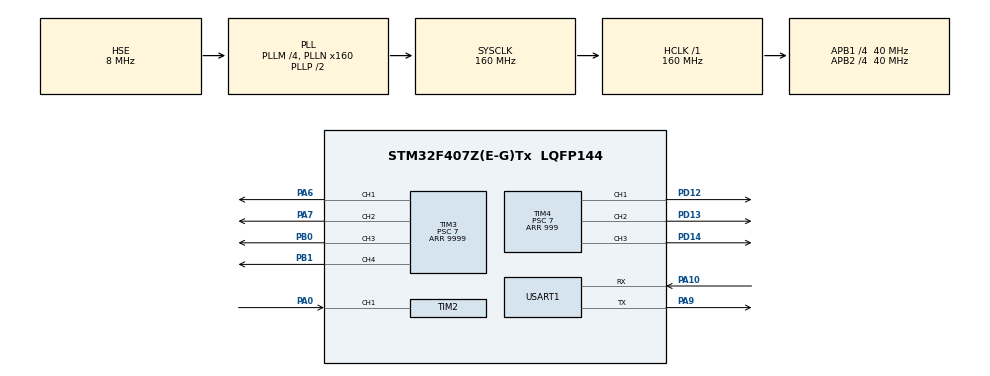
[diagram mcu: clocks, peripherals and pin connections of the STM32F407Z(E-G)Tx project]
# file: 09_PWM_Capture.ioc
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Mcu.Family=STM32F4
Mcu.Name=STM32F407Z(E-G)Tx
Mcu.Package=LQFP144
NVIC.PriorityGroup=NVIC_PRIORITYGROUP_4
NVIC.TIM2_IRQn=true\:0\:0\:false\:false\:true\:true\:true
PA0-WKUP.GPIO_PuPd=GPIO_PULLDOWN
PA0-WKUP.Signal=S_TIM2_CH1_ETR
PA10.Mode=Asynchronous
PA10.Signal=USART1_RX
PA6.GPIO_Speed=GPIO_SPEED_FREQ_HIGH
PA6.Signal=S_TIM3_CH1
PA7.GPIO_Speed=GPIO_SPEED_FREQ_HIGH
PA7.Signal=S_TIM3_CH2
PA9.Mode=Asynchronous
PA9.Signal=USART1_TX
PB0.GPIO_Speed=GPIO_SPEED_FREQ_HIGH
PB0.Signal=S_TIM3_CH3
PB1.GPIO_Speed=GPIO_SPEED_FREQ_HIGH
PB1.Signal=S_TIM3_CH4
PD12.GPIO_Speed=GPIO_SPEED_FREQ_HIGH
PD12.Signal=S_TIM4_CH1
PD13.GPIO_Speed=GPIO_SPEED_FREQ_HIGH
PD13.Signal=S_TIM4_CH2
PD14.GPIO_Speed=GPIO_SPEED_FREQ_HIGH
PD14.Signal=S_TIM4_CH3
PH0-OSC_IN.Mode=HSE-External-Oscillator
PH0-OSC_IN.Signal=RCC_OSC_IN
PH1-OSC_OUT.Mode=HSE-External-Oscillator
PH1-OSC_OUT.Signal=RCC_OSC_OUT
ProjectManager.HeapSize=0x200
ProjectManager.StackSize=0x400
ProjectManager.TargetToolchain=MDK-ARM V5
RCC.48MHZClocksFreq_Value=80000000
RCC.AHBFreq_Value=160000000
RCC.APB1CLKDivider=RCC_HCLK_DIV4
RCC.APB1Freq_Value=40000000
RCC.APB1TimFreq_Value=80000000
RCC.APB2CLKDivider=RCC_HCLK_DIV4
RCC.APB2Freq_Value=40000000
RCC.APB2TimFreq_Value=80000000
RCC.CortexFreq_Value=160000000
RCC.HCLKFreq_Value=160000000
RCC.HSE_VALUE=8000000
RCC.HSI_VALUE=16000000
RCC.LSE_VALUE=32768
RCC.PLLM=4
RCC.PLLN=160
RCC.PLLSourceVirtual=RCC_PLLSOURCE_HSE
RCC.SYSCLKFreq_VALUE=160000000
RCC.SYSCLKSource=RCC_SYSCLKSOURCE_PLLCLK
RCC.VCOOutputFreq_Value=320000000
SH.S_TIM2_CH1_ETR.0=TIM2_CH1,Input_Capture1_from_TI1
SH.S_TIM3_CH1.0=TIM3_CH1,PWM Generation1 CH1
SH.S_TIM3_CH2.0=TIM3_CH2,PWM Generation2 CH2
SH.S_TIM3_CH3.0=TIM3_CH3,PWM Generation3 CH3
SH.S_TIM3_CH4.0=TIM3_CH4,PWM Generation4 CH4
SH.S_TIM4_CH1.0=TIM4_CH1,PWM Generation1 CH1
SH.S_TIM4_CH2.0=TIM4_CH2,PWM Generation2 CH2
SH.S_TIM4_CH3.0=TIM4_CH3,PWM Generation3 CH3
TIM2.Channel-Input_Capture1_from_TI1=TIM_CHANNEL_1
TIM2.Period=0xFFFFFFFF
TIM2.Prescaler=7
TIM3.Channel-PWM\ Generation1\ CH1=TIM_CHANNEL_1
TIM3.Channel-PWM\ Generation2\ CH2=TIM_CHANNEL_2
TIM3.Channel-PWM\ Generation3\ CH3=TIM_CHANNEL_3
TIM3.Channel-PWM\ Generation4\ CH4=TIM_CHANNEL_4
TIM3.Period=9999
TIM3.Prescaler=7
TIM3.Pulse-PWM\ Generation1\ CH1=1234
TIM3.Pulse-PWM\ Generation2\ CH2=2345
TIM3.Pulse-PWM\ Generation3\ CH3=5678
TIM3.Pulse-PWM\ Generation4\ CH4=6789
TIM4.Channel-PWM\ Generation1\ CH1=TIM_CHANNEL_1
TIM4.Channel-PWM\ Generation2\ CH2=TIM_CHANNEL_2
TIM4.Channel-PWM\ Generation3\ CH3=TIM_CHANNEL_3
TIM4.Period=999
TIM4.Prescaler=7
TIM4.Pulse-PWM\ Generation1\ CH1=234
TIM4.Pulse-PWM\ Generation2\ CH2=567
TIM4.Pulse-PWM\ Generation3\ CH3=1234
USART1.VirtualMode=VM_ASYNC
VP_TIM2_VS_ClockSourceINT.Mode=Internal
VP_TIM3_VS_ClockSourceINT.Mode=Internal
VP_TIM4_VS_ClockSourceINT.Mode=Internal
board=custom

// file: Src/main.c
/* USER CODE BEGIN Header */
/**
  ******************************************************************************
  * @file           : main.c
  * @brief          : Main program body
  ******************************************************************************
  * @attention
  *
  * <h2><center>&copy; Copyright (c) 2019 STMicroelectronics.
  * All rights reserved.</center></h2>
  *
  * This software component is licensed by ST under BSD 3-Clause license,
  * the "License"; You may not use this file except in compliance with the
  * License. You may obtain a copy of the License at:
  *                        opensource.org/licenses/BSD-3-Clause
  *
  ******************************************************************************
  */
/* USER CODE END Header */

#include "main.h"

TIM_HandleTypeDef htim2;
TIM_HandleTypeDef htim3;
TIM_HandleTypeDef htim4;

UART_HandleTypeDef huart1;

void SystemClock_Config(void);
static void MX_GPIO_Init(void);
static void MX_TIM2_Init(void);
static void MX_TIM3_Init(void);
static void MX_TIM4_Init(void);
static void MX_USART1_UART_Init(void);

/* USER CODE BEGIN 0 */
uint32_t capture_buf[3] = {0};
uint8_t capture_cnt = 0;
uint32_t pwm_cycle, high_time;
uint64_t duty;
/* USER CODE END 0 */

int main(void)
{

  /* MCU Configuration--------------------------------------------------------*/

  /* Reset of all peripherals, Initializes the Flash interface and the Systick. */
  HAL_Init();

  /* Configure the system clock */
  SystemClock_Config();

  /* Initialize all configured peripherals */
  MX_GPIO_Init();
  MX_TIM2_Init();
  MX_TIM3_Init();
  MX_TIM4_Init();
  MX_USART1_UART_Init();
  /* USER CODE BEGIN 2 */
  HAL_TIM_PWM_Start(&htim3, TIM_CHANNEL_1);
  HAL_TIM_PWM_Start(&htim3, TIM_CHANNEL_2);
  HAL_TIM_PWM_Start(&htim3, TIM_CHANNEL_3);
  HAL_TIM_PWM_Start(&htim3, TIM_CHANNEL_4);

  HAL_TIM_PWM_Start(&htim4, TIM_CHANNEL_1);
  HAL_TIM_PWM_Start(&htim4, TIM_CHANNEL_2);
  HAL_TIM_PWM_Start(&htim4, TIM_CHANNEL_3);

  /* USER CODE END 2 */

  /* Infinite loop */
  while (1)
  {

    /* USER CODE BEGIN 3 */
	  switch (capture_cnt)
	  {
		  case 0:
			capture_cnt++;
			__HAL_TIM_SET_CAPTUREPOLARITY(&htim2, TIM_CHANNEL_1, TIM_INPUTCHANNELPOLARITY_RISING);
			HAL_TIM_IC_Start_IT(&htim2, TIM_CHANNEL_1);
			break;
		  case 4:
			pwm_cycle = capture_buf[2] - capture_buf[0];
			printf("Cycle:%.4fms\r\n", pwm_cycle/10000.0);

			high_time = capture_buf[1] - capture_buf[0];
		    printf("High:%.4fms\r\n", high_time/10000.0);

			duty = high_time;
			duty *= 1000;
			duty /=  pwm_cycle;
			printf("Duty:%.1f%%\r\n", duty/10.0);

			HAL_Delay(1000);
			capture_cnt = 0;
			break;

	  }

  }
  /* USER CODE END 3 */
}

void SystemClock_Config(void)
{
  RCC_OscInitTypeDef RCC_OscInitStruct = {0};
  RCC_ClkInitTypeDef RCC_ClkInitStruct = {0};

  /** Configure the main internal regulator output voltage
  */
  __HAL_RCC_PWR_CLK_ENABLE();
  __HAL_PWR_VOLTAGESCALING_CONFIG(PWR_REGULATOR_VOLTAGE_SCALE1);
  /** Initializes the CPU, AHB and APB busses clocks
  */
  RCC_OscInitStruct.OscillatorType = RCC_OSCILLATORTYPE_HSE;
  RCC_OscInitStruct.HSEState = RCC_HSE_ON;
  RCC_OscInitStruct.PLL.PLLState = RCC_PLL_ON;
  RCC_OscInitStruct.PLL.PLLSource = RCC_PLLSOURCE_HSE;
  RCC_OscInitStruct.PLL.PLLM = 4;
  RCC_OscInitStruct.PLL.PLLN = 160;
  RCC_OscInitStruct.PLL.PLLP = RCC_PLLP_DIV2;
  RCC_OscInitStruct.PLL.PLLQ = 4;
  if (HAL_RCC_OscConfig(&RCC_OscInitStruct) != HAL_OK)
  {
    Error_Handler();
  }
  /** Initializes the CPU, AHB and APB busses clocks
  */
  RCC_ClkInitStruct.ClockType = RCC_CLOCKTYPE_HCLK|RCC_CLOCKTYPE_SYSCLK
                              |RCC_CLOCKTYPE_PCLK1|RCC_CLOCKTYPE_PCLK2;
  RCC_ClkInitStruct.SYSCLKSource = RCC_SYSCLKSOURCE_PLLCLK;
  RCC_ClkInitStruct.AHBCLKDivider = RCC_SYSCLK_DIV1;
  RCC_ClkInitStruct.APB1CLKDivider = RCC_HCLK_DIV4;
  RCC_ClkInitStruct.APB2CLKDivider = RCC_HCLK_DIV4;

  if (HAL_RCC_ClockConfig(&RCC_ClkInitStruct, FLASH_LATENCY_5) != HAL_OK)
  {
    Error_Handler();
  }
}

static void MX_TIM2_Init(void)
{

  TIM_ClockConfigTypeDef sClockSourceConfig = {0};
  TIM_MasterConfigTypeDef sMasterConfig = {0};
  TIM_IC_InitTypeDef sConfigIC = {0};

  htim2.Instance = TIM2;
  htim2.Init.Prescaler = 7;
  htim2.Init.CounterMode = TIM_COUNTERMODE_UP;
  htim2.Init.Period = 0xFFFFFFFF;
  htim2.Init.ClockDivision = TIM_CLOCKDIVISION_DIV1;
  htim2.Init.AutoReloadPreload = TIM_AUTORELOAD_PRELOAD_DISABLE;
  if (HAL_TIM_Base_Init(&htim2) != HAL_OK)
  {
    Error_Handler();
  }
  sClockSourceConfig.ClockSource = TIM_CLOCKSOURCE_INTERNAL;
  if (HAL_TIM_ConfigClockSource(&htim2, &sClockSourceConfig) != HAL_OK)
  {
    Error_Handler();
  }
  if (HAL_TIM_IC_Init(&htim2) != HAL_OK)
  {
    Error_Handler();
  }
  sMasterConfig.MasterOutputTrigger = TIM_TRGO_RESET;
  sMasterConfig.MasterSlaveMode = TIM_MASTERSLAVEMODE_DISABLE;
  if (HAL_TIMEx_MasterConfigSynchronization(&htim2, &sMasterConfig) != HAL_OK)
  {
    Error_Handler();
  }
  sConfigIC.ICPolarity = TIM_INPUTCHANNELPOLARITY_RISING;
  sConfigIC.ICSelection = TIM_ICSELECTION_DIRECTTI;
  sConfigIC.ICPrescaler = TIM_ICPSC_DIV1;
  sConfigIC.ICFilter = 0;
  if (HAL_TIM_IC_ConfigChannel(&htim2, &sConfigIC, TIM_CHANNEL_1) != HAL_OK)
  {
    Error_Handler();
  }

}

static void MX_TIM3_Init(void)
{

  TIM_ClockConfigTypeDef sClockSourceConfig = {0};
  TIM_MasterConfigTypeDef sMasterConfig = {0};
  TIM_OC_InitTypeDef sConfigOC = {0};

  htim3.Instance = TIM3;
  htim3.Init.Prescaler = 7;
  htim3.Init.CounterMode = TIM_COUNTERMODE_UP;
  htim3.Init.Period = 9999;
  htim3.Init.ClockDivision = TIM_CLOCKDIVISION_DIV1;
  htim3.Init.AutoReloadPreload = TIM_AUTORELOAD_PRELOAD_DISABLE;
  if (HAL_TIM_Base_Init(&htim3) != HAL_OK)
  {
    Error_Handler();
  }
  sClockSourceConfig.ClockSource = TIM_CLOCKSOURCE_INTERNAL;
  if (HAL_TIM_ConfigClockSource(&htim3, &sClockSourceConfig) != HAL_OK)
  {
    Error_Handler();
  }
  if (HAL_TIM_PWM_Init(&htim3) != HAL_OK)
  {
    Error_Handler();
  }
  sMasterConfig.MasterOutputTrigger = TIM_TRGO_RESET;
  sMasterConfig.MasterSlaveMode = TIM_MASTERSLAVEMODE_DISABLE;
  if (HAL_TIMEx_MasterConfigSynchronization(&htim3, &sMasterConfig) != HAL_OK)
  {
    Error_Handler();
  }
  sConfigOC.OCMode = TIM_OCMODE_PWM1;
  sConfigOC.Pulse = 1234;
  sConfigOC.OCPolarity = TIM_OCPOLARITY_HIGH;
  sConfigOC.OCFastMode = TIM_OCFAST_DISABLE;
  if (HAL_TIM_PWM_ConfigChannel(&htim3, &sConfigOC, TIM_CHANNEL_1) != HAL_OK)
  {
    Error_Handler();
  }
  sConfigOC.Pulse = 2345;
  if (HAL_TIM_PWM_ConfigChannel(&htim3, &sConfigOC, TIM_CHANNEL_2) != HAL_OK)
  {
    Error_Handler();
  }
  sConfigOC.Pulse = 5678;
  if (HAL_TIM_PWM_ConfigChannel(&htim3, &sConfigOC, TIM_CHANNEL_3) != HAL_OK)
  {
    Error_Handler();
  }
  sConfigOC.Pulse = 6789;
  if (HAL_TIM_PWM_ConfigChannel(&htim3, &sConfigOC, TIM_CHANNEL_4) != HAL_OK)
  {
    Error_Handler();
  }
  HAL_TIM_MspPostInit(&htim3);

}

static void MX_TIM4_Init(void)
{

  TIM_ClockConfigTypeDef sClockSourceConfig = {0};
  TIM_MasterConfigTypeDef sMasterConfig = {0};
  TIM_OC_InitTypeDef sConfigOC = {0};

  htim4.Instance = TIM4;
  htim4.Init.Prescaler = 7;
  htim4.Init.CounterMode = TIM_COUNTERMODE_UP;
  htim4.Init.Period = 999;
  htim4.Init.ClockDivision = TIM_CLOCKDIVISION_DIV1;
  htim4.Init.AutoReloadPreload = TIM_AUTORELOAD_PRELOAD_DISABLE;
  if (HAL_TIM_Base_Init(&htim4) != HAL_OK)
  {
    Error_Handler();
  }
  sClockSourceConfig.ClockSource = TIM_CLOCKSOURCE_INTERNAL;
  if (HAL_TIM_ConfigClockSource(&htim4, &sClockSourceConfig) != HAL_OK)
  {
    Error_Handler();
  }
  if (HAL_TIM_PWM_Init(&htim4) != HAL_OK)
  {
    Error_Handler();
  }
  sMasterConfig.MasterOutputTrigger = TIM_TRGO_RESET;
  sMasterConfig.MasterSlaveMode = TIM_MASTERSLAVEMODE_DISABLE;
  if (HAL_TIMEx_MasterConfigSynchronization(&htim4, &sMasterConfig) != HAL_OK)
  {
    Error_Handler();
  }
  sConfigOC.OCMode = TIM_OCMODE_PWM1;
  sConfigOC.Pulse = 234;
  sConfigOC.OCPolarity = TIM_OCPOLARITY_HIGH;
  sConfigOC.OCFastMode = TIM_OCFAST_DISABLE;
  if (HAL_TIM_PWM_ConfigChannel(&htim4, &sConfigOC, TIM_CHANNEL_1) != HAL_OK)
  {
    Error_Handler();
  }
  sConfigOC.Pulse = 567;
  if (HAL_TIM_PWM_ConfigChannel(&htim4, &sConfigOC, TIM_CHANNEL_2) != HAL_OK)
  {
    Error_Handler();
  }
  sConfigOC.Pulse = 1234;
  if (HAL_TIM_PWM_ConfigChannel(&htim4, &sConfigOC, TIM_CHANNEL_3) != HAL_OK)
  {
    Error_Handler();
  }
  HAL_TIM_MspPostInit(&htim4);

}

static void MX_USART1_UART_Init(void)
{

  huart1.Instance = USART1;
  huart1.Init.BaudRate = 115200;
  huart1.Init.WordLength = UART_WORDLENGTH_8B;
  huart1.Init.StopBits = UART_STOPBITS_1;
  huart1.Init.Parity = UART_PARITY_NONE;
  huart1.Init.Mode = UART_MODE_TX_RX;
  huart1.Init.HwFlowCtl = UART_HWCONTROL_NONE;
  huart1.Init.OverSampling = UART_OVERSAMPLING_16;
  if (HAL_UART_Init(&huart1) != HAL_OK)
  {
    Error_Handler();
  }

}

static void MX_GPIO_Init(void)
{

  /* GPIO Ports Clock Enable */
  __HAL_RCC_GPIOH_CLK_ENABLE();
  __HAL_RCC_GPIOA_CLK_ENABLE();
  __HAL_RCC_GPIOB_CLK_ENABLE();
  __HAL_RCC_GPIOD_CLK_ENABLE();

}

/* USER CODE BEGIN 4 */
int fputc(int ch, FILE *f)
{
	HAL_UART_Transmit(&huart1, (uint8_t *)&ch, 1, 10);
	return ch;

}

void HAL_TIM_IC_CaptureCallback(TIM_HandleTypeDef *htim)
{
	if (TIM2 == htim->Instance)
	{
		if(HAL_TIM_ACTIVE_CHANNEL_1 == htim->Channel)
		{
			switch (capture_cnt)
			{
				case 1:
					capture_buf[0] = __HAL_TIM_GET_COMPARE(htim, TIM_CHANNEL_1);
					__HAL_TIM_SET_CAPTUREPOLARITY(htim, TIM_CHANNEL_1, TIM_INPUTCHANNELPOLARITY_FALLING);
					capture_cnt++;
					break;

				 case 2:
					capture_buf[1] = __HAL_TIM_GET_COMPARE(htim, TIM_CHANNEL_1);
					__HAL_TIM_SET_CAPTUREPOLARITY(htim, TIM_CHANNEL_1, TIM_INPUTCHANNELPOLARITY_RISING);
					capture_cnt++;
					break;

				 case 3:
					capture_buf[2] = __HAL_TIM_GET_COMPARE(htim, TIM_CHANNEL_1);
					__HAL_TIM_SET_CAPTUREPOLARITY(htim, TIM_CHANNEL_1, TIM_INPUTCHANNELPOLARITY_FALLING);
					capture_cnt++;
					break;

			}
		}
	}
}
/* USER CODE END 4 */

void Error_Handler(void)
{
}

/************************ (C) COPYRIGHT STMicroelectronics *****END OF FILE****/
